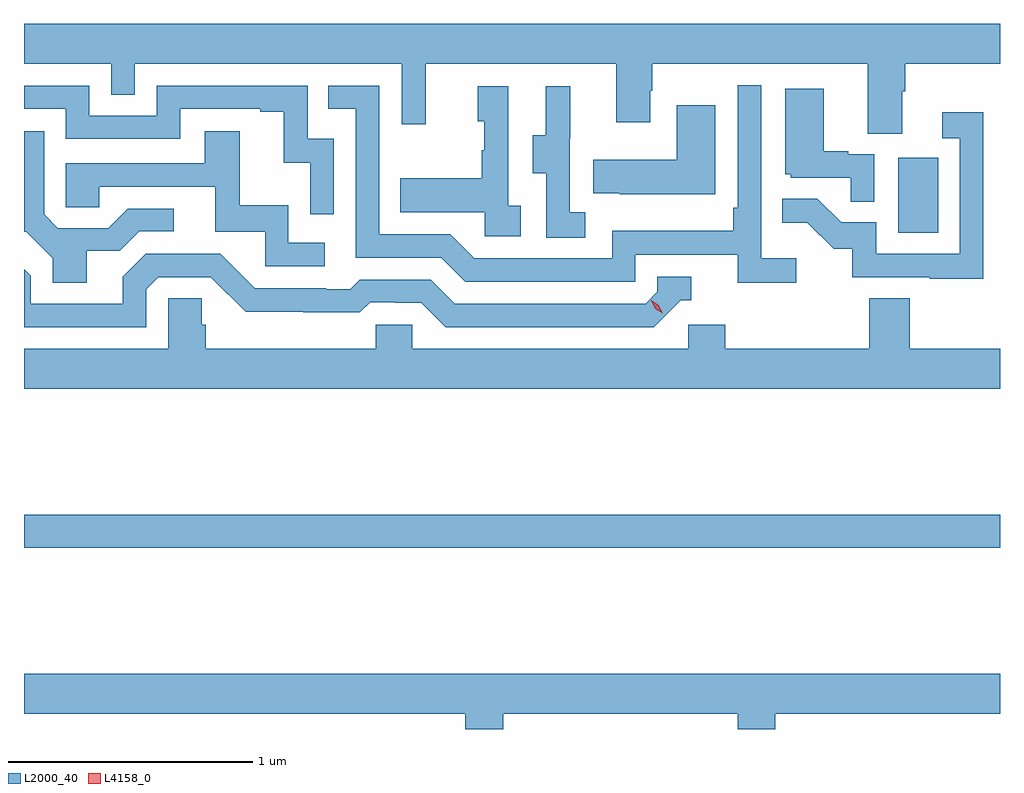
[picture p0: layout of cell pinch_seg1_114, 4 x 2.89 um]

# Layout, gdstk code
import gdstk
lib = gdstk.Library(unit=1e-6, precision=1e-09)
def R(c, l, rs):  # rectangles x0, y0, x1, y1
    for r in rs: c.add(gdstk.rectangle(r[:2], r[2:], *l))
def P(c, l, *ps):  # polygons
    for p in ps: c.add(gdstk.Polygon(p, *l))
L2000_40 = (2000, 40)
L4158_0 = (4158, 0)

pinch_seg1_114 = lib.new_cell('pinch_seg1_114')
R(pinch_seg1_114, L2000_40, [(1054.442,551.08,1058.442,551.216), (1058.024,552.372,1058.188,552.679)])
P(pinch_seg1_114, L2000_40, [(1058.041,552.952),(1058.054,552.952),(1058.054,553.064),(1058.442,553.064),(1058.442,553.228),(1054.442,553.228),(1054.442,553.064),(1054.8,553.064),(1054.8,552.937),(1054.896,552.937),(1054.896,553.064),(1055.991,553.064),(1055.991,552.816),(1056.089,552.816),(1056.089,553.064),(1056.869,553.064),(1056.869,552.825),(1057.009,552.825),(1057.009,552.953),(1057.017,552.953),(1057.017,553.064),(1057.901,553.064),(1057.901,552.778),(1058.041,552.778)],
  [(1057.606,552.268),(1057.464,552.268),(1057.464,552.976),(1057.368,552.976),(1057.368,552.475),(1057.348,552.475),(1057.348,552.379),(1056.852,552.379),(1056.852,552.267),(1056.288,552.267),(1056.189,552.366),(1055.898,552.366),(1055.898,552.975),(1055.689,552.975),(1055.689,552.879),(1055.802,552.879),(1055.802,552.27),(1056.152,552.27),(1056.251,552.171),(1056.948,552.171),(1056.948,552.282),(1057.367,552.282),(1057.367,552.166),(1057.606,552.166)],
  [(1055.712,552.756),(1055.604,552.756),(1055.604,552.975),(1054.986,552.975),(1054.986,552.852),(1054.71,552.852),(1054.71,552.975),(1054.442,552.975),(1054.442,552.879),(1054.614,552.879),(1054.614,552.756),(1055.082,552.756),(1055.082,552.879),(1055.411,552.879),(1055.411,552.867),(1055.507,552.867),(1055.507,552.659),(1055.616,552.659),(1055.616,552.447),(1055.712,552.447)],
  [(1056.478,552.482),(1056.426,552.482),(1056.426,552.973),(1056.302,552.973),(1056.302,552.828),(1056.328,552.828),(1056.328,552.71),(1056.318,552.71),(1056.318,552.595),(1055.983,552.595),(1055.983,552.455),(1056.33,552.455),(1056.33,552.357),(1056.478,552.357)],
  [(1056.742,552.455),(1056.678,552.455),(1056.678,552.759),(1056.68,552.759),(1056.68,552.973),(1056.581,552.973),(1056.581,552.771),(1056.527,552.771),(1056.527,552.616),(1056.582,552.616),(1056.582,552.352),(1056.742,552.352)],
  [(1057.926,552.693),(1057.82,552.693),(1057.82,552.706),(1057.72,552.706),(1057.72,552.961),(1057.562,552.961),(1057.562,552.612),(1057.584,552.612),(1057.584,552.597),(1057.831,552.597),(1057.831,552.499),(1057.926,552.499)],
  [(1057.276,552.895),(1057.118,552.895),(1057.118,552.67),(1056.775,552.67),(1056.775,552.533),(1056.883,552.533),(1056.883,552.53),(1057.276,552.53)],
  [(1058.373,552.865),(1058.205,552.865),(1058.205,552.759),(1058.277,552.759),(1058.277,552.285),(1057.935,552.285),(1057.935,552.414),(1057.791,552.414),(1057.693,552.512),(1057.549,552.512),(1057.549,552.413),(1057.653,552.413),(1057.76,552.306),(1057.837,552.306),(1057.837,552.189),(1058.155,552.189),(1058.155,552.184),(1058.373,552.184)],
  [(1055.674,552.33),(1055.526,552.33),(1055.526,552.484),(1055.327,552.484),(1055.327,552.787),(1055.183,552.787),(1055.183,552.657),(1054.614,552.657),(1054.614,552.477),(1054.751,552.477),(1054.751,552.561),(1055.225,552.561),(1055.225,552.375),(1055.43,552.375),(1055.43,552.234),(1055.674,552.234)],
  [(1054.699,552.298),(1054.834,552.298),(1054.914,552.378),(1055.056,552.378),(1055.056,552.471),(1054.868,552.471),(1054.787,552.39),(1054.581,552.39),(1054.524,552.447),(1054.524,552.787),(1054.442,552.787),(1054.442,552.375),(1054.452,552.375),(1054.559,552.268),(1054.559,552.166),(1054.699,552.166)],
  [(1054.944,552.141),(1054.992,552.189),(1055.208,552.189),(1055.35,552.047),(1055.586,552.047),(1055.586,552.045),(1055.819,552.045),(1055.861,552.087),(1055.964,552.087),(1055.964,552.084),(1056.071,552.084),(1056.17,551.985),(1057.023,551.985),(1057.134,552.096),(1057.177,552.096),(1057.177,552.192),(1057.038,552.192),(1057.038,552.129),(1056.99,552.081),(1056.207,552.081),(1056.108,552.18),(1055.819,552.18),(1055.78,552.141),(1055.681,552.141),(1055.681,552.144),(1055.388,552.144),(1055.247,552.285),(1054.941,552.285),(1054.847,552.191),(1054.847,552.081),(1054.47,552.081),(1054.47,552.195),(1054.442,552.223),(1054.442,551.985),(1054.944,551.985)],
  [(1058.442,551.896),(1058.072,551.896),(1058.072,552.104),(1057.907,552.104),(1057.907,551.896),(1057.316,551.896),(1057.316,551.994),(1057.164,551.994),(1057.164,551.896),(1056.033,551.896),(1056.033,551.994),(1055.883,551.994),(1055.883,551.896),(1055.186,551.896),(1055.186,551.994),(1055.171,551.994),(1055.171,552.104),(1055.034,552.104),(1055.034,551.896),(1054.442,551.896),(1054.442,551.732),(1058.442,551.732)],
  [(1056.407,550.4),(1057.367,550.4),(1057.367,550.337),(1057.52,550.337),(1057.52,550.4),(1058.442,550.4),(1058.442,550.564),(1054.442,550.564),(1054.442,550.4),(1056.251,550.4),(1056.251,550.337),(1056.407,550.337)])
P(pinch_seg1_114, L4158_0, [(1057.059,552.041),(1057.029,552.061),(1057.013,552.094),(1057.013,552.094),(1057.013,552.094),(1057.044,552.074),(1057.06,552.042),(1057.06,552.041)])

lib.write_gds('pinch_seg1_114.gds')
